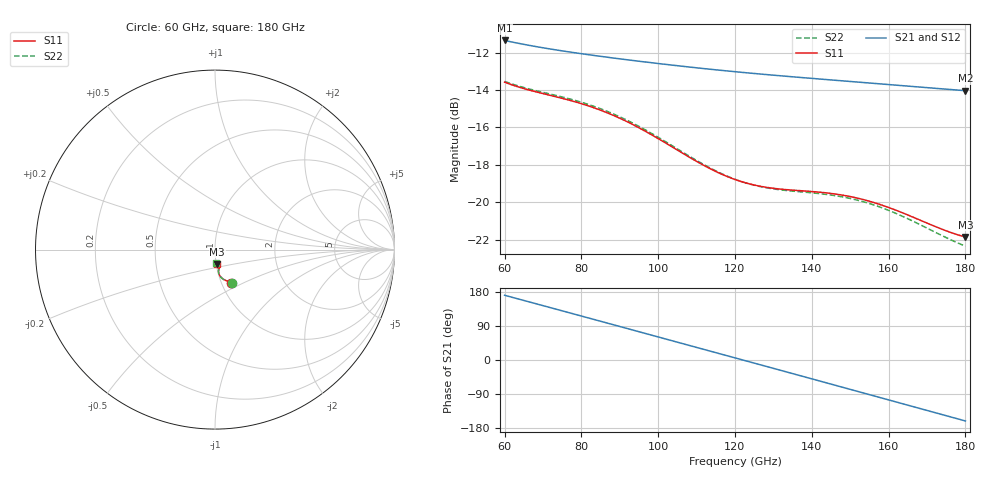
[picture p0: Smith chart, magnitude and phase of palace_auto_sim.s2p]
#  GHZ S DB R 50
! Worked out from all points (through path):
!   101 points, 60 GHz to 180 GHz, reference 50 ohm
!   highest |S21| = -11.35 dB at 60 GHz (marker M1); lowest = -14.0 dB at 180 GHz (marker M2)
!   group delay of S21, straight-line fit = 7.68 ps
!   lowest |S11| = -21.9 dB at 180 GHz (marker M3), VSWR 1.18, Z = 50.6 - j8.13 ohm
!   |S11| at or under -10 dB: start of sweep to end of sweep
!   |S22| runs from -22.3 to -13.5 dB; largest |S21 - S12| = 4e-14
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60  -13.58 -64.4  -11.35 170.8  -11.35 170.8  -13.54 -63.7
64.8  -13.91 -65.0  -11.55 157.7  -11.55 157.7  -13.86 -64.3
70.8  -14.23 -66.4  -11.77 141.3  -11.77 141.3  -14.16 -65.8
75.6  -14.48 -68.2  -11.93 128.1  -11.93 128.1  -14.40 -67.7
80.4  -14.76 -70.4  -12.07 114.9  -12.07 114.9  -14.68 -70.0
85.2  -15.10 -72.8  -12.21 101.7  -12.21 101.7  -15.02 -72.5
90  -15.51 -75.3  -12.34 88.4  -12.34 88.4  -15.43 -75.1
94.8  -16.00 -77.5  -12.46 75.2  -12.46 75.2  -15.92 -77.4
100.8  -16.69 -79.7  -12.60 58.6  -12.60 58.6  -16.62 -79.7
110.4  -17.86 -80.9  -12.82 32.1  -12.82 32.1  -17.81 -81.2
115.2  -18.37 -80.4  -12.93 18.8  -12.93 18.8  -18.34 -80.9
120  -18.78 -79.5  -13.02 5.6  -13.02 5.6  -18.77 -80.1
124.8  -19.07 -78.4  -13.11 -7.7  -13.11 -7.7  -19.08 -79.1
129.6  -19.24 -77.6  -13.20 -20.9  -13.20 -20.9  -19.27 -78.4
134.4  -19.34 -77.3  -13.28 -34.2  -13.28 -34.2  -19.39 -78.1
140.4  -19.43 -77.7  -13.39 -50.8  -13.39 -50.8  -19.50 -78.7
146.4  -19.57 -78.9  -13.49 -67.5  -13.49 -67.5  -19.66 -80.1
151.2  -19.74 -80.2  -13.56 -80.8  -13.56 -80.8  -19.85 -81.6
156  -20.00 -81.6  -13.64 -94.2  -13.64 -94.2  -20.13 -83.2
160.8  -20.34 -82.7  -13.72 -107.5  -13.72 -107.5  -20.50 -84.6
171.6  -21.25 -83.2  -13.90 -137.5  -13.90 -137.5  -21.54 -85.9
180  -21.86 -81.1  -14.04 -160.9  -14.04 -160.9  -22.34 -84.2
